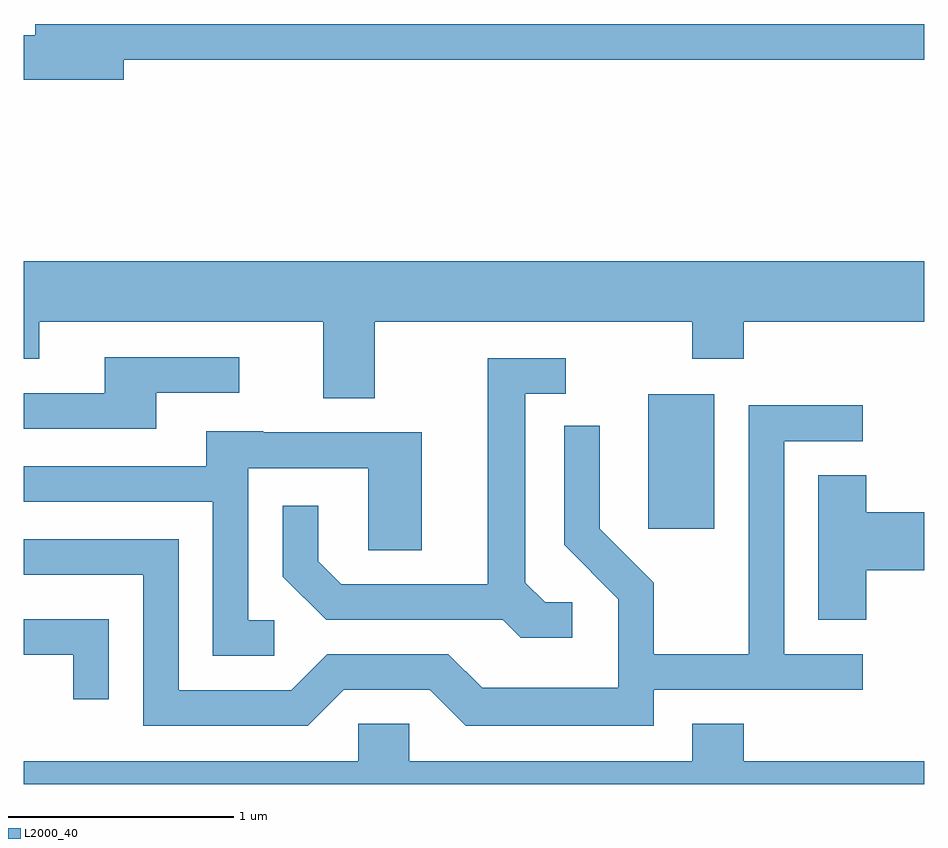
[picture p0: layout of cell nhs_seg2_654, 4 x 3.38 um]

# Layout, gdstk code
import gdstk
lib = gdstk.Library(unit=1e-6, precision=1e-09)
def R(c, l, rs):  # rectangles x0, y0, x1, y1
    for r in rs: c.add(gdstk.rectangle(r[:2], r[2:], *l))
def P(c, l, *ps):  # polygons
    for p in ps: c.add(gdstk.Polygon(p, *l))
L2000_40 = (2000, 40)

nhs_seg2_654 = lib.new_cell('nhs_seg2_654')
R(nhs_seg2_654, L2000_40, [(206.386,1062.936,206.679,1063.534)])
P(nhs_seg2_654, L2000_40, [(204.054,1065.021),(207.611,1065.021),(207.611,1065.179),(203.661,1065.179),(203.661,1065.129),(203.611,1065.129),(203.611,1064.931),(204.054,1064.931)],
  [(205.169,1063.856),(206.581,1063.856),(206.581,1063.691),(206.809,1063.691),(206.809,1063.856),(207.611,1063.856),(207.611,1064.124),(203.611,1064.124),(203.611,1063.691),(203.679,1063.691),(203.679,1063.856),(204.941,1063.856),(204.941,1063.516),(205.169,1063.516)],
  [(204.199,1063.541),(204.568,1063.541),(204.568,1063.699),(203.971,1063.699),(203.971,1063.539),(203.611,1063.539),(203.611,1063.381),(204.199,1063.381)],
  [(206.048,1062.609),(205.927,1062.609),(205.839,1062.697),(205.839,1063.536),(206.018,1063.536),(206.018,1063.694),(205.671,1063.694),(205.671,1062.689),(205.022,1062.689),(204.919,1062.792),(204.919,1063.038),(204.761,1063.038),(204.761,1062.724),(204.954,1062.531),(205.739,1062.531),(205.819,1062.451),(206.048,1062.451)],
  [(205.032,1062.221),(205.414,1062.221),(205.574,1062.061),(206.409,1062.061),(206.409,1062.221),(207.338,1062.221),(207.338,1062.379),(206.989,1062.379),(206.989,1063.326),(207.338,1063.326),(207.338,1063.484),(206.831,1063.484),(206.831,1062.379),(206.409,1062.379),(206.409,1062.697),(206.169,1062.937),(206.169,1063.393),(206.011,1063.393),(206.011,1062.864),(206.251,1062.624),(206.251,1062.229),(205.647,1062.229),(205.497,1062.379),(204.959,1062.379),(204.799,1062.219),(204.299,1062.219),(204.299,1062.889),(203.611,1062.889),(203.611,1062.731),(204.141,1062.731),(204.141,1062.061),(204.872,1062.061)],
  [(204.723,1062.529),(204.609,1062.529),(204.609,1063.206),(205.141,1063.206),(205.141,1062.841),(205.379,1062.841),(205.379,1063.364),(204.675,1063.364),(204.675,1063.369),(204.421,1063.369),(204.421,1063.214),(203.611,1063.214),(203.611,1063.056),(204.451,1063.056),(204.451,1062.371),(204.723,1062.371)],
  [(207.354,1062.751),(207.611,1062.751),(207.611,1063.009),(207.354,1063.009),(207.354,1063.174),(207.141,1063.174),(207.141,1062.531),(207.354,1062.531)],
  [(203.989,1062.534),(203.611,1062.534),(203.611,1062.376),(203.831,1062.376),(203.831,1062.178),(203.989,1062.178)],
  [(207.611,1061.904),(206.809,1061.904),(206.809,1062.069),(206.581,1062.069),(206.581,1061.904),(205.324,1061.904),(205.324,1062.069),(205.096,1062.069),(205.096,1061.904),(203.611,1061.904),(203.611,1061.802),(207.611,1061.802)])

lib.write_gds('nhs_seg2_654.gds')
